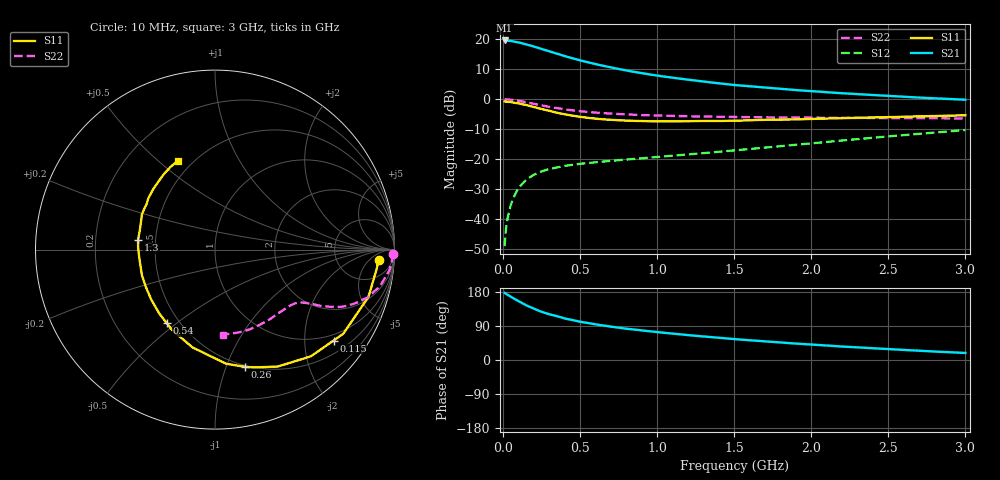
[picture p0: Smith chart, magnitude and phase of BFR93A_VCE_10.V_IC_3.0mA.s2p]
! Infineon Technologies  Discrete & RF Semiconductors
! BFR93A
! VCE =  10. V,  IC =  3.0 mA
! Common Emitter S-Parameters:  Nov 2015
# GHz  S  MA  R  50
!  f  S11  S21  S12  S22
! GHz  MAG  ANG  MAG  ANG  MAG  ANG  MAG  ANG
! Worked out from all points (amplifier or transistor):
!   180 points, 10 MHz to 3 GHz, reference 50 ohm
!   highest |S21| = 19.6 dB at 10 MHz (marker M1)
!   |S21| within 3 dB of that: start of sweep to 259.9 MHz
!   unconditionally stable (mu >= 1): 905.4 MHz to 2.467 GHz
!   at 160 MHz: K = 0.25, MSG = 22.4 dB, |S12| = -26.6 dB
!   at 1.22 GHz: K = 1.12, MAG = 10.3 dB, |S12| = -18.4 dB
!   at 3 GHz: K = 0.90, MSG = 5.1 dB, |S12| = -10.3 dB
!   S11 on the Smith chart (normalised r, x): 10 MHz: 15, -10; 115 MHz: 0.82, -2.72; 260 MHz: 0.49, -1.16; 540 MHz: 0.43, -0.46; 1.3 GHz: 0.40, +0.05; 3 GHz: 0.42, +0.58
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0.01  0.9127 -3.5  9.542 177.1  0.0035 87.6  0.9945 -1.4
0.025  0.9033 -8.4  9.487 173.2  0.0087 83.0  0.9885 -3.4
0.05  0.8948 -17.1  9.37 166.8  0.017 81.2  0.9787 -6.8
0.1  0.8546 -33.3  8.9 155.2  0.0325 72.4  0.9405 -12.7
0.115  0.8325 -37.5  8.665 152.1  0.0361 69.6  0.924 -14.1
0.15  0.7996 -48.0  8.223 144.3  0.0447 64.9  0.8877 -17.6
0.2  0.7397 -61.7  7.558 135.2  0.0546 59.5  0.8344 -21.1
0.26  0.6741 -75.7  6.754 125.9  0.0634 54.3  0.7759 -24.2
0.3  0.6391 -84.4  6.279 120.7  0.068 51.9  0.7412 -25.6
0.4  0.5595 -102.9  5.218 109.6  0.0767 47.9  0.6727 -27.9
0.5  0.5078 -118.1  4.431 100.9  0.083 46.0  0.6267 -29.1
0.52  0.4988 -120.5  4.307 99.7  0.0841 45.9  0.6202 -29.3
0.54  0.4906 -123.1  4.185 98.3  0.0851 45.9  0.6137 -29.5
0.6  0.4724 -131.1  3.835 93.9  0.0883 45.7  0.5943 -30.1
0.7  0.4514 -141.9  3.373 87.8  0.0932 46.2  0.5715 -31.1
0.8  0.4379 -151.5  3.005 82.6  0.0976 47.2  0.555 -32.1
1.02  0.4241 -169.4  2.428 72.8  0.1089 49.7  0.5309 -34.9
1.3  0.4324 172.7  1.963 61.9  0.1253 53.4  0.5124 -39.6
1.52  0.4365 161.7  1.705 54.5  0.1408 56.0  0.5025 -44.0
2.02  0.4691 142.0  1.346 40.2  0.1842 59.6  0.4898 -55.7
2.52  0.5014 126.4  1.122 28.4  0.2406 59.4  0.4825 -69.2
3  0.5365 112.8  0.977 18.5  0.3048 56.6  0.4761 -84.8
